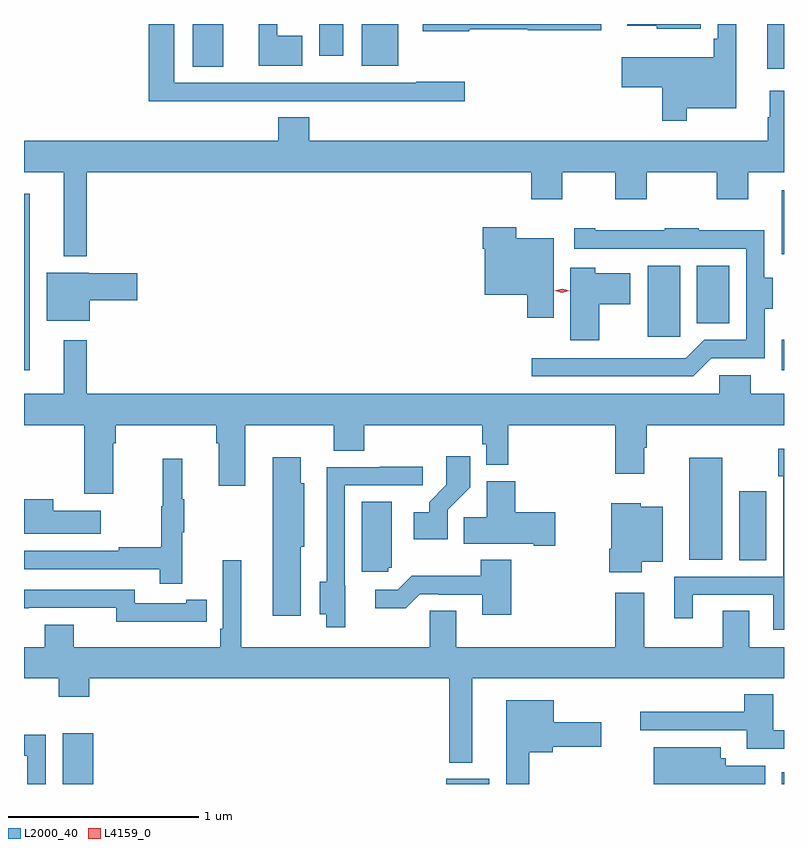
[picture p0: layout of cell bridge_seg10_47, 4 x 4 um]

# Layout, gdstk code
import gdstk
lib = gdstk.Library(unit=1e-6, precision=1e-09)
def R(c, l, rs):  # rectangles x0, y0, x1, y1
    for r in rs: c.add(gdstk.rectangle(r[:2], r[2:], *l))
def P(c, l, *ps):  # polygons
    for p in ps: c.add(gdstk.Polygon(p, *l))
L2000_40 = (2000, 40)
L4159_0 = (4159, 0)

bridge_seg10_47 = lib.new_cell('bridge_seg10_47')
R(bridge_seg10_47, L2000_40, [(879.071,1291.767,879.232,1292.035), (881.09,1291.767,881.317,1291.795), (882.857,1291.767,882.868,1291.828), (882.632,1292.944,882.775,1293.307), (882.368,1292.948,882.544,1293.484), (878.868,1293.945,878.899,1294.873), (882.857,1293.945,882.868,1294.105), (882.152,1294.122,882.322,1294.495), (882.41,1294.193,882.58,1294.495), (882.857,1294.556,882.868,1294.891), (882.779,1295.531,882.868,1295.767), (879.755,1295.542,879.916,1295.767), (880.646,1295.546,880.837,1295.767), (880.421,1295.601,880.549,1295.767)])
P(bridge_seg10_47, L2000_40, [(882.43,1295.767),(882.042,1295.767),(882.042,1295.759),(882.198,1295.759),(882.198,1295.741),(882.43,1295.741)],
  [(881.212,1295.74),(881.52,1295.74),(881.52,1295.735),(881.905,1295.735),(881.905,1295.767),(880.967,1295.767),(880.967,1295.729),(881.212,1295.729)],
  [(880.333,1295.704),(880.201,1295.704),(880.201,1295.767),(880.103,1295.767),(880.103,1295.546),(880.333,1295.546)],
  [(882.355,1295.324),(882.616,1295.324),(882.616,1295.767),(882.519,1295.767),(882.519,1295.689),(882.499,1295.689),(882.499,1295.593),(882.015,1295.593),(882.015,1295.435),(882.226,1295.435),(882.226,1295.259),(882.355,1295.259)],
  [(880.121,1295.361),(880.453,1295.361),(880.453,1295.36),(881.188,1295.36),(881.188,1295.462),(880.933,1295.462),(880.933,1295.457),(879.658,1295.457),(879.658,1295.767),(879.524,1295.767),(879.524,1295.36),(880.121,1295.36)],
  [(879.199,1294.988),(881.537,1294.988),(881.537,1294.845),(881.701,1294.845),(881.701,1294.988),(881.981,1294.988),(881.981,1294.845),(882.145,1294.845),(882.145,1294.988),(882.515,1294.988),(882.515,1294.845),(882.679,1294.845),(882.679,1294.988),(882.868,1294.988),(882.868,1295.416),(882.794,1295.416),(882.794,1295.276),(882.783,1295.276),(882.783,1295.152),(880.37,1295.152),(880.37,1295.276),(880.205,1295.276),(880.205,1295.152),(878.868,1295.152),(878.868,1294.988),(879.077,1294.988),(879.077,1294.544),(879.199,1294.544)],
  [(881.656,1294.639),(881.46,1294.639),(881.46,1294.696),(881.282,1294.696),(881.282,1294.583),(881.294,1294.583),(881.294,1294.343),(881.516,1294.343),(881.516,1294.221),(881.656,1294.221)],
  [(882.486,1294.008),(882.766,1294.008),(882.766,1294.268),(882.808,1294.268),(882.808,1294.432),(882.765,1294.432),(882.765,1294.681),(882.419,1294.681),(882.419,1294.693),(882.241,1294.693),(882.241,1294.681),(881.875,1294.681),(881.875,1294.693),(881.763,1294.693),(881.763,1294.584),(882.669,1294.584),(882.669,1294.104),(882.447,1294.104),(882.351,1294.008),(881.541,1294.008),(881.541,1293.912),(882.39,1293.912)],
  [(881.896,1294.292),(882.058,1294.292),(882.058,1294.456),(881.874,1294.456),(881.874,1294.483),(881.744,1294.483),(881.744,1294.103),(881.896,1294.103)],
  [(879.214,1294.312),(879.463,1294.312),(879.463,1294.454),(879.21,1294.454),(879.21,1294.459),(878.987,1294.459),(878.987,1294.205),(879.214,1294.205)],
  [(879.337,1293.56),(879.35,1293.56),(879.35,1293.656),(879.881,1293.656),(879.881,1293.56),(879.893,1293.56),(879.893,1293.336),(880.033,1293.336),(880.033,1293.656),(880.498,1293.656),(880.498,1293.52),(880.658,1293.52),(880.658,1293.656),(881.281,1293.656),(881.281,1293.555),(881.301,1293.555),(881.301,1293.446),(881.417,1293.446),(881.417,1293.656),(881.981,1293.656),(881.981,1293.399),(882.133,1293.399),(882.133,1293.536),(882.146,1293.536),(882.146,1293.656),(882.868,1293.656),(882.868,1293.82),(882.692,1293.82),(882.692,1293.918),(882.528,1293.918),(882.528,1293.82),(879.199,1293.82),(879.199,1294.102),(879.077,1294.102),(879.077,1293.82),(878.868,1293.82),(878.868,1293.656),(879.185,1293.656),(879.185,1293.294),(879.337,1293.294)],
  [(882.868,1293.532),(882.838,1293.532),(882.838,1293.387),(882.864,1293.387),(882.864,1292.859),(882.29,1292.859),(882.29,1292.64),(882.388,1292.64),(882.388,1292.763),(882.812,1292.763),(882.812,1292.579),(882.868,1292.579)],
  [(881.097,1293.211),(881.216,1293.33),(881.216,1293.493),(881.091,1293.493),(881.091,1293.341),(881,1293.251),(881,1293.196),(880.92,1293.196),(880.92,1293.056),(881.097,1293.056)],
  [(880.324,1293.015),(880.342,1293.015),(880.342,1293.351),(880.324,1293.351),(880.324,1293.487),(880.178,1293.487),(880.178,1292.652),(880.324,1292.652)],
  [(879.701,1293.091),(879.712,1293.091),(879.712,1293.265),(879.701,1293.265),(879.701,1293.478),(879.598,1293.478),(879.598,1293.228),(879.591,1293.228),(879.591,1293.014),(879.367,1293.014),(879.367,1292.994),(878.868,1292.994),(878.868,1292.898),(879.583,1292.898),(879.583,1292.82),(879.701,1292.82)],
  [(880.558,1292.814),(880.557,1292.814),(880.557,1293.339),(880.966,1293.339),(880.966,1293.438),(880.741,1293.438),(880.741,1293.435),(880.461,1293.435),(880.461,1292.831),(880.424,1292.831),(880.424,1292.66),(880.46,1292.66),(880.46,1292.592),(880.558,1292.592)],
  [(881.665,1293.198),(881.453,1293.198),(881.453,1293.361),(881.303,1293.361),(881.303,1293.17),(881.182,1293.17),(881.182,1293.032),(881.552,1293.032),(881.552,1293.02),(881.665,1293.02)],
  [(879.271,1293.205),(879.023,1293.205),(879.023,1293.265),(878.868,1293.265),(878.868,1293.083),(879.271,1293.083)],
  [(880.785,1292.904),(880.804,1292.904),(880.804,1293.253),(880.646,1293.253),(880.646,1292.883),(880.785,1292.883)],
  [(882.118,1292.936),(882.229,1292.936),(882.229,1293.226),(882.114,1293.226),(882.114,1293.244),(881.96,1293.244),(881.96,1293.004),(881.948,1293.004),(881.948,1292.882),(882.118,1292.882)],
  [(881.432,1292.947),(881.272,1292.947),(881.272,1292.863),(880.909,1292.863),(880.836,1292.79),(880.716,1292.79),(880.716,1292.693),(880.877,1292.693),(880.95,1292.766),(881.05,1292.766),(881.05,1292.763),(881.279,1292.763),(881.279,1292.658),(881.432,1292.658)],
  [(881.227,1292.324),(882.868,1292.324),(882.868,1292.488),(882.685,1292.488),(882.685,1292.678),(882.545,1292.678),(882.545,1292.488),(882.133,1292.488),(882.133,1292.773),(881.981,1292.773),(881.981,1292.488),(881.143,1292.488),(881.143,1292.678),(881.004,1292.678),(881.004,1292.488),(880.012,1292.488),(880.012,1292.944),(879.915,1292.944),(879.915,1292.584),(879.902,1292.584),(879.902,1292.488),(879.13,1292.488),(879.13,1292.605),(878.978,1292.605),(878.978,1292.488),(878.868,1292.488),(878.868,1292.324),(879.052,1292.324),(879.052,1292.225),(879.212,1292.225),(879.212,1292.324),(881.106,1292.324),(881.106,1291.88),(881.227,1291.88)],
  [(879.722,1292.622),(879.83,1292.622),(879.83,1292.738),(879.722,1292.738),(879.722,1292.718),(879.45,1292.718),(879.45,1292.79),(878.868,1292.79),(878.868,1292.693),(878.894,1292.693),(878.894,1292.694),(879.354,1292.694),(879.354,1292.621),(879.722,1292.621)],
  [(882.868,1292.049),(882.811,1292.049),(882.811,1292.239),(882.659,1292.239),(882.659,1292.146),(882.111,1292.146),(882.111,1292.049),(882.671,1292.049),(882.671,1291.953),(882.868,1291.953)],
  [(881.527,1291.934),(881.652,1291.934),(881.652,1291.963),(881.905,1291.963),(881.905,1292.092),(881.656,1292.092),(881.656,1292.209),(881.405,1292.209),(881.405,1291.767),(881.527,1291.767)],
  [(878.982,1292.026),(878.868,1292.026),(878.868,1291.917),(878.886,1291.917),(878.886,1291.767),(878.982,1291.767)],
  [(882.768,1291.863),(882.562,1291.863),(882.562,1291.902),(882.535,1291.902),(882.535,1291.96),(882.182,1291.96),(882.182,1291.767),(882.768,1291.767)])
P(bridge_seg10_47, L4159_0, [(881.7,1294.353),(881.662,1294.364),(881.662,1294.364),(881.662,1294.364),(881.701,1294.373),(881.739,1294.362),(881.739,1294.362),(881.739,1294.362)])

lib.write_gds('bridge_seg10_47.gds')
